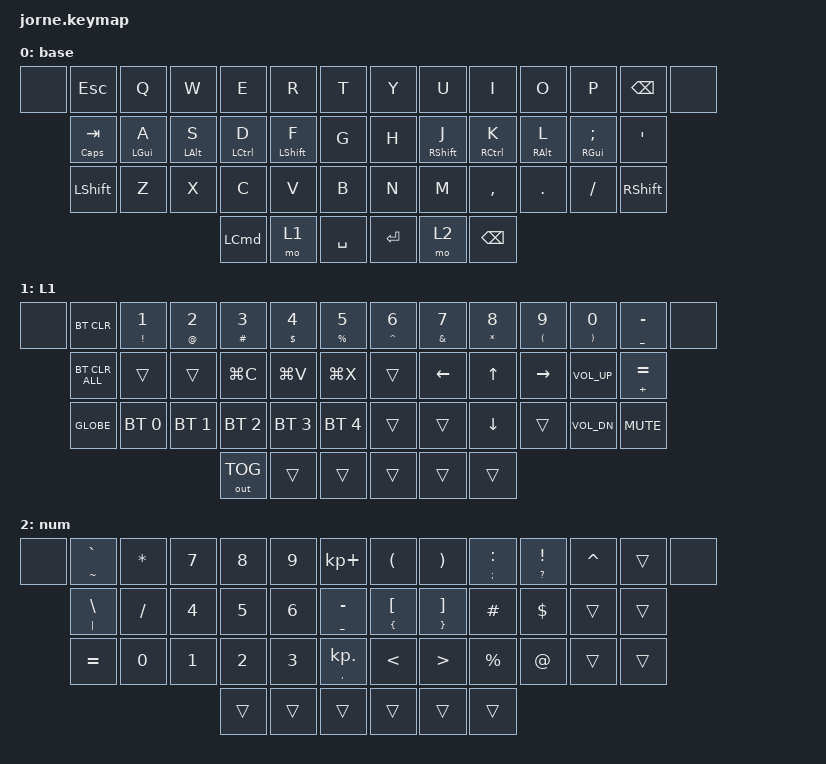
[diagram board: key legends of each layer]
/*
 * Copyright (c) 2020 The ZMK Contributors
 *
 * SPDX-License-Identifier: MIT
 */

#include <behaviors.dtsi>
#include <dt-bindings/zmk/bt.h>
#include <dt-bindings/zmk/keys.h>
#include <dt-bindings/zmk/outputs.h>

/ {
    combos {
        compatible = "zmk,combos";

        combo_game {
            bindings = <&tog 0>;
            key-positions = <38 43>;
            timeout-ms = <200>;
        };

        game_esc {
            bindings = <&kp ESC>;
            key-positions = <2 3>;
        };
    };

    behaviors {
        hml: hml {
            compatible = "zmk,behavior-hold-tap";
            label = "HML";
            bindings = <&kp>, <&kp>;

            #binding-cells = <2>;
            tapping-term-ms = <220>;
            quick-tap-ms = <175>;
            flavor = "balanced";
            require-prior-idle-ms = <100>;
            hold-trigger-key-positions = <7 8 9 10 11 12 13 20 21 22 23 24 25 32 33 34 35 36 37 38 39 40 41 42 43>;
            hold-trigger-on-release;
        };

        hmr: hmr {
            compatible = "zmk,behavior-hold-tap";
            label = "HMR";
            bindings = <&kp>, <&kp>;

            #binding-cells = <2>;
            tapping-term-ms = <220>;
            quick-tap-ms = <175>;
            require-prior-idle-ms = <100>;
            flavor = "balanced";
            hold-trigger-key-positions = <0 1 2 3 4 5 6 14 15 16 17 18 19 26 27 28 29 30 31 38 39 40 41 42 43>;
            hold-trigger-on-release;
        };

        tkl: tkl {
            compatible = "zmk,behavior-hold-tap";
            label = "TKL";
            bindings = <&mo>, <&kp>;

            #binding-cells = <2>;
            tapping-term-ms = <220>;
            quick-tap-ms = <175>;
            flavor = "balanced";
            require-prior-idle-ms = <100>;
            hold-trigger-key-positions = <7 8 9 10 11 12 13 20 21 22 23 24 25 32 33 34 35 36 37 38 39 40 41 42 43>;
            hold-trigger-on-release;
        };

        tkr: tkr {
            compatible = "zmk,behavior-hold-tap";
            label = "TKR";
            bindings = <&mo>, <&kp>;

            #binding-cells = <2>;
            tapping-term-ms = <220>;
            quick-tap-ms = <175>;
            require-prior-idle-ms = <100>;
            flavor = "balanced";
            hold-trigger-key-positions = <0 1 2 3 4 5 6 14 15 16 17 18 19 26 27 28 29 30 31 38 39 40 41 42 43>;
            hold-trigger-on-release;
        };
    };

    keymap {
        compatible = "zmk,keymap";

        base {
            // Jorne: 44 keys (positions 0 and 13 are extra outer keys, not present physically)
            // -----------------------------------------------------------------------------------------
            // | x |  ESC |  Q  |  W  |  E  |  R  |  T  |   |  Y  |  U   |  I  |  O  |  P  | BKSP | x |
            //     | TAB  |  A  |  S  |  D  |  F  |  G  |   |  H  |  J   |  K  |  L  |  '  |  '   |
            //     | SHFT |  Z  |  X  |  C  |  V  |  B  |   |  N  |  M   |  ,  |  .  |  /  | SHFT |
            //                        | GUI | LWR | SPC |   | ENT | RSE  | ALT |

            bindings = <
&none  &kp ESC           &kp Q            &kp W            &kp E                &kp R              &kp T        &kp Y      &kp U               &kp I                 &kp O             &kp P                     &kp BACKSPACE     &none
       &mt CAPSLOCK TAB  &hml LEFT_GUI A  &hml LEFT_ALT S  &hml LEFT_CONTROL D  &hml LEFT_SHIFT F  &kp G        &kp H      &hmr RIGHT_SHIFT J  &hmr RIGHT_CONTROL K  &hmr RIGHT_ALT L  &hmr RIGHT_GUI SEMICOLON  &kp SINGLE_QUOTE
       &kp LEFT_SHIFT    &kp Z            &kp X            &kp C                &kp V              &kp B        &kp N      &kp M               &kp COMMA             &kp DOT           &kp FSLH                  &kp RIGHT_SHIFT
                                                           &kp LEFT_COMMAND     &mo 1              &kp SPACE    &kp ENTER  &mo 2               &kp BACKSPACE
            >;
        };

        L1 {
            bindings = <
&none  &bt BT_CLR      &mt EXCLAMATION NUMBER_1  &mt AT_SIGN NUMBER_2  &mt POUND NUMBER_3  &mt DOLLAR NUMBER_4  &mt PERCENT NUMBER_5    &mt CARET NUMBER_6  &mt AMPERSAND NUMBER_7  &mt ASTERISK NUMBER_8  &mt LEFT_PARENTHESIS NUMBER_9  &mt RIGHT_PARENTHESIS NUMBER_0  &mt UNDERSCORE MINUS  &none
       &bt BT_CLR_ALL  &trans                    &trans                &kp LG(C)           &kp LG(V)            &kp LG(X)               &trans              &kp LEFT_ARROW          &kp UP_ARROW           &kp RIGHT_ARROW                &kp C_VOLUME_UP                 &mt PLUS EQUAL
       &kp GLOBE       &bt BT_SEL 0              &bt BT_SEL 1          &bt BT_SEL 2        &bt BT_SEL 3         &bt BT_SEL 4            &trans              &trans                  &kp DOWN_ARROW         &trans                         &kp C_VOL_DN                    &kp K_MUTE
                                                                       &out OUT_TOG        &trans               &trans                  &trans              &trans                  &trans
            >;
        };

        num {
            bindings = <
&none  &mt TILDE GRAVE  &kp ASTERISK  &kp N7  &kp N8  &kp N9  &kp KP_PLUS             &kp LEFT_PARENTHESIS         &kp RIGHT_PARENTHESIS          &mt SEMICOLON COLON  &mt QUESTION EXCLAMATION  &kp CARET  &trans  &none
       &mt PIPE BSLH    &kp SLASH     &kp N4  &kp N5  &kp N6  &mt UNDERSCORE MINUS    &mt LEFT_BRACE LEFT_BRACKET  &mt RIGHT_BRACE RIGHT_BRACKET  &kp HASH             &kp DOLLAR                &trans     &trans
       &kp EQUAL        &kp NUMBER_0  &kp N1  &kp N2  &kp N3  &mt COMMA KP_DOT        &kp LESS_THAN                &kp GREATER_THAN               &kp PERCENT          &kp AT_SIGN               &trans     &trans
                                              &trans  &trans  &trans                  &trans                       &trans                         &trans
            >;
        };
    };
};
